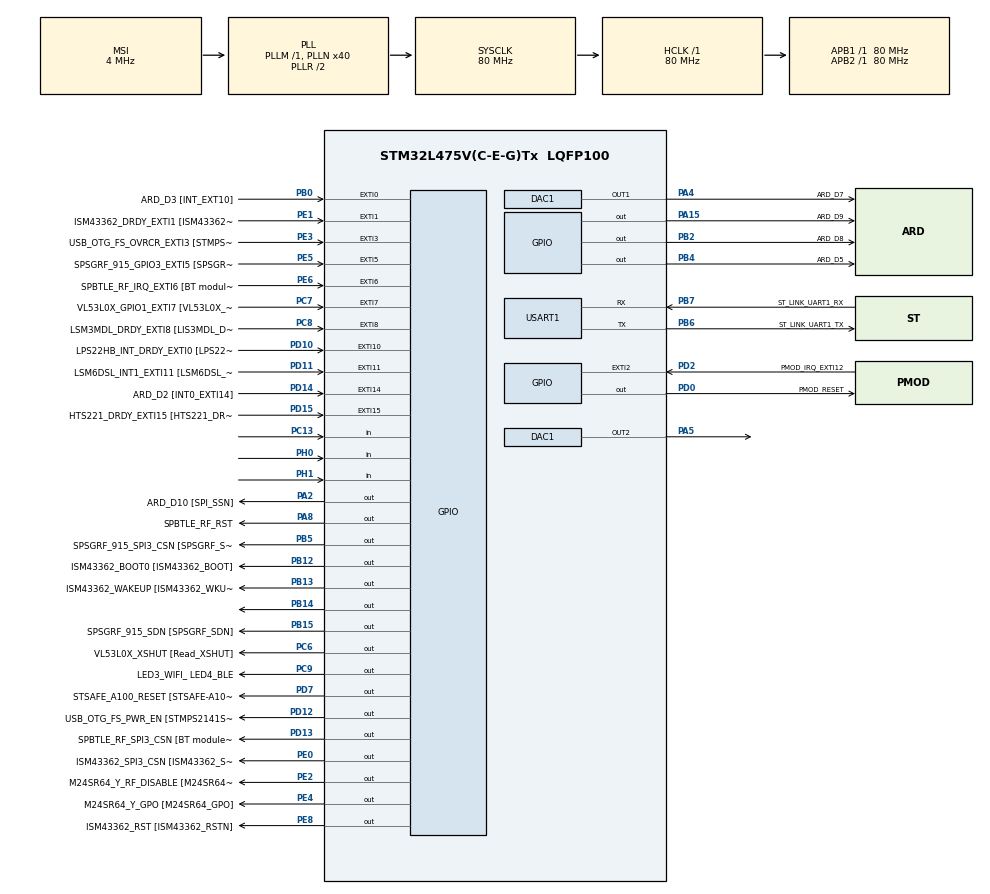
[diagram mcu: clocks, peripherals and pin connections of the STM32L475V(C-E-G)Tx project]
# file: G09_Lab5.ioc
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DAC1.DAC_Channel-DAC_OUT2=DAC_CHANNEL_2
Mcu.Family=STM32L4
Mcu.Name=STM32L475V(C-E-G)Tx
Mcu.Package=LQFP100
NVIC.EXTI15_10_IRQn=true\:0\:0\:false\:false\:true\:true
NVIC.EXTI9_5_IRQn=true\:0\:0\:false\:false\:true\:true
NVIC.PriorityGroup=NVIC_PRIORITYGROUP_4
NVIC.TIM1_TRG_COM_TIM17_IRQn=true\:0\:0\:false\:false\:true\:true
NVIC.TIM1_UP_TIM16_IRQn=true\:0\:0\:false\:false\:true\:true
NVIC.USART1_IRQn=true\:0\:0\:false\:false\:true\:true
PA0.GPIO_Label=ARD_D1 [UART4_TX]
PA0.Signal=UART4_TX
PA1.GPIO_Label=ARD_D0 [UART4_RX]
PA1.Signal=UART4_RX
PA10.GPIO_Label=USB_OTG_FS_ID
PA10.Signal=USB_OTG_FS_ID
PA11.GPIO_Label=USB_OTG_FS_DM
PA11.Signal=USB_OTG_FS_DM
PA12.GPIO_Label=USB_OTG_FS_DP
PA12.Signal=USB_OTG_FS_DP
PA13\ (JTMS-SWDIO).GPIO_Label=SYS_JTMS_SWDIO
PA13\ (JTMS-SWDIO).Signal=SYS_JTMS-SWDIO
PA14\ (JTCK-SWCLK).GPIO_Label=SYS_JTCK_SWCLK
PA14\ (JTCK-SWCLK).Signal=SYS_JTCK-SWCLK
PA15\ (JTDI).GPIO_Label=ARD_D9
PA15\ (JTDI).Signal=GPIO_Output
PA2.GPIO_Label=ARD_D10 [SPI_SSN]
PA2.Signal=GPIO_Output
PA3.GPIO_Label=ARD_D4
PA3.Signal=S_TIM2_CH4
PA4.GPIO_Label=ARD_D7
PA4.Signal=COMP_DAC11_group
PA5.Signal=COMP_DAC12_group
PA6.GPIO_Label=ARD_D12 [SPI1_MISO]
PA6.Signal=SPI1_MISO
PA7.GPIO_Label=ARD_D11 [SPI1_MOSI]
PA7.Signal=SPI1_MOSI
PA8.GPIO_Label=SPBTLE_RF_RST
PA8.Signal=GPIO_Output
PA9.GPIO_Label=USB_OTG_FS_VBUS [STMPS2141STR_OUT]
PA9.Signal=USB_OTG_FS_VBUS
PB0.GPIO_Label=ARD_D3 [INT_EXT10]
PB0.Signal=GPXTI0
PB1.GPIO_Label=ARD_D6 [ADC1_IN6]
PB1.Signal=ADCx_IN16
PB10.GPIO_Label=INTERNAL_I2C2_SCL [VL53L0X_SCL]
PB10.Signal=I2C2_SCL
PB11.GPIO_Label=INTERNAL_I2C2_SDA [VL53L0X_SDA]
PB11.Signal=I2C2_SDA
PB12.GPIO_Label=ISM43362_BOOT0 [ISM43362_BOOT]
PB12.Signal=GPIO_Output
PB13.GPIO_Label=ISM43362_WAKEUP [ISM43362_WKUP]
PB13.Signal=GPIO_Output
PB14.Signal=GPIO_Output
PB15.GPIO_Label=SPSGRF_915_SDN [SPSGRF_SDN]
PB15.Signal=GPIO_Output
PB2.GPIO_Label=ARD_D8
PB2.Signal=GPIO_Output
PB3\ (JTDO-TRACESWO).GPIO_Label=SYS_JTD0_SWO
PB3\ (JTDO-TRACESWO).Signal=SYS_JTDO-SWO
PB4\ (NJTRST).GPIO_Label=ARD_D5
PB4\ (NJTRST).Signal=GPIO_Output
PB5.GPIO_Label=SPSGRF_915_SPI3_CSN [SPSGRF_SPI_CS]
PB5.Signal=GPIO_Output
PB6.GPIO_Label=ST_LINK_UART1_TX
PB6.Mode=Asynchronous
PB6.Signal=USART1_TX
PB7.GPIO_Label=ST_LINK_UART1_RX
PB7.Mode=Asynchronous
PB7.Signal=USART1_RX
PB8.GPIO_Label=ARD_D15 [I2C1_SCL]
PB8.Signal=I2C1_SCL
PB9.GPIO_Label=ARD_D14 [I2C1_SDA]
PB9.Signal=I2C1_SDA
PC0.GPIO_Label=ARD_A5 [ADC]
PC0.Signal=ADCx_IN1
PC1.GPIO_Label=ARD_A4 [ADC]
PC1.Signal=ADCx_IN2
PC10.GPIO_Label=INTERNAL_SPI3_SCK [BT module_SPI_SCLK]
PC10.Signal=SPI3_SCK
PC11.GPIO_Label=INTERNAL_SPI3_MISO [BT module_SPI_MISO]
PC11.Signal=SPI3_MISO
PC12.GPIO_Label=INTERNAL_SPI3_MOSI [BT module_SPI_MOSI]
PC12.Signal=SPI3_MOSI
PC13.Signal=GPIO_Input
PC14-OSC32_IN\ (PC14).Signal=RCC_OSC32_IN
PC15-OSC32_OUT\ (PC15).Signal=RCC_OSC32_OUT
PC2.GPIO_Label=ARD_A3 [ADC]
PC2.Signal=ADCx_IN3
PC3.GPIO_Label=ARD_A2 [ADC]
PC3.Signal=ADCx_IN4
PC4.GPIO_Label=ARD_A1 [ADC]
PC4.Signal=ADCx_IN13
PC5.GPIO_Label=ARD_A0 [ADC]
PC5.Signal=ADCx_IN14
PC6.GPIO_Label=VL53L0X_XSHUT [Read_XSHUT]
PC6.Signal=GPIO_Output
PC7.GPIO_Label=VL53L0X_GPIO1_EXTI7 [VL53L0X_GPIO1]
PC7.Signal=GPXTI7
PC8.GPIO_Label=LSM3MDL_DRDY_EXTI8 [LIS3MDL_DRDY]
PC8.Signal=GPXTI8
PC9.GPIO_Label=LED3_WIFI_ LED4_BLE
PC9.Signal=GPIO_Output
PD0.GPIO_Label=PMOD_RESET
PD0.Signal=GPIO_Output
PD1.GPIO_Label=PMOD_SPI2_SCK
PD1.Signal=SPI2_SCK
PD10.GPIO_Label=LPS22HB_INT_DRDY_EXTI0 [LPS22HB_INT_DRDY] 
PD10.Signal=GPXTI10
PD11.GPIO_Label=LSM6DSL_INT1_EXTI11 [LSM6DSL_INT1]
PD11.Signal=GPXTI11
PD12.GPIO_Label=USB_OTG_FS_PWR_EN [STMPS2141STR_EN]
PD12.Signal=GPIO_Output
PD13.GPIO_Label=SPBTLE_RF_SPI3_CSN [BT module_SPI_CS]
PD13.Signal=GPIO_Output
PD14.GPIO_Label=ARD_D2 [INT0_EXTI14]
PD14.Signal=GPXTI14
PD15.GPIO_Label=HTS221_DRDY_EXTI15 [HTS221_DRDY]
PD15.Signal=GPXTI15
PD2.GPIO_Label=PMOD_IRQ_EXTI12
PD2.Signal=GPXTI2
PD3.GPIO_Label=PMOD_UART2_CTS
PD3.Signal=USART2_CTS
PD4.GPIO_Label=PMOD_UART2_RTS
PD4.Signal=USART2_RTS
PD5.GPIO_Label=PMOD_UART2_TX
PD5.Signal=USART2_TX
PD6.GPIO_Label=PMOD_UART2_RX
PD6.Signal=USART2_RX
PD7.GPIO_Label=STSAFE_A100_RESET [STSAFE-A100_RESET]
PD7.Signal=GPIO_Output
PD8.GPIO_Label=INTERNAL_UART3_TX [ISM43362_RX]
PD8.Signal=USART3_TX
PD9.GPIO_Label=INTERNAL_UART3_RX [ISM43362_TX]
PD9.Signal=USART3_RX
PE0.GPIO_Label=ISM43362_SPI3_CSN [ISM43362_SSN]
PE0.Signal=GPIO_Output
PE1.GPIO_Label=ISM43362_DRDY_EXTI1 [ISM43362_DATARDY]
PE1.Signal=GPXTI1
PE10.GPIO_Label=QUADSPI_CLK [MX25R6435F_SCLK]
PE10.Signal=QUADSPI_CLK
PE11.GPIO_Label=QUADSPI_NCS [MX25R6435F_SCLK]
PE11.Signal=QUADSPI_NCS
PE12.GPIO_Label=OQUADSPI_BK1_IO0 [MX25R6435F_IO0]
PE12.Signal=QUADSPI_BK1_IO0
PE13.GPIO_Label=QUADSPI_BK1_IO1 [MX25R6435F_IO1]
PE13.Signal=QUADSPI_BK1_IO1
PE14.GPIO_Label=QUAD_SPI_BK1_IO2 [MX25R6435F_IO2]
PE14.Signal=QUADSPI_BK1_IO2
PE15.GPIO_Label=QUAD_SPI_BK1_IO3 [MX25R6435F_IO3]
PE15.Signal=QUADSPI_BK1_IO3
PE2.GPIO_Label=M24SR64_Y_RF_DISABLE [M24SR64_RFDIS]
PE2.Signal=GPIO_Output
PE3.GPIO_Label=USB_OTG_FS_OVRCR_EXTI3 [STMPS2141STR_FAULT]
PE3.Signal=GPXTI3
PE4.GPIO_Label=M24SR64_Y_GPO [M24SR64_GPO]
PE4.Signal=GPIO_Output
PE5.GPIO_Label=SPSGRF_915_GPIO3_EXTI5 [SPSGRF_GPIO_3]
PE5.Signal=GPXTI5
PE6.GPIO_Label=SPBTLE_RF_IRQ_EXTI6 [BT module_SPI_IRQ]
PE6.Signal=GPXTI6
PE7.GPIO_Label=DFSDM1_DATIN2 [MP34DT01_DOUT]
PE7.Signal=S_DATAIN2DFSDM1
PE8.GPIO_Label=ISM43362_RST [ISM43362_RSTN]
PE8.Signal=GPIO_Output
PE9.GPIO_Label=DFSDM1_CKOUT [MP34DT01_CLK]
PE9.Signal=S_CKOUTDFSDM1
PH0-OSC_IN\ (PH0).Signal=GPIO_Input
PH1-OSC_OUT\ (PH1).Signal=GPIO_Input
ProjectManager.HeapSize=0x200
ProjectManager.StackSize=0x400
ProjectManager.TargetToolchain=MDK-ARM V5
RCC.ADCFreq_Value=48000000
RCC.AHBFreq_Value=80000000
RCC.APB1Freq_Value=80000000
RCC.APB1TimFreq_Value=80000000
RCC.APB2Freq_Value=80000000
RCC.APB2TimFreq_Value=80000000
RCC.CortexFreq_Value=80000000
RCC.HCLKFreq_Value=80000000
RCC.HSE_VALUE=8000000
RCC.HSI_VALUE=16000000
RCC.LSE_VALUE=32768
RCC.MSI_VALUE=4000000
RCC.PLLN=40
RCC.PLLSAI1N=24
RCC.SYSCLKFreq_VALUE=80000000
RCC.SYSCLKSource=RCC_SYSCLKSOURCE_PLLCLK
RCC.USBFreq_Value=48000000
RCC.VCOOutputFreq_Value=160000000
SH.ADCx_IN1.0=ADC1_IN1
SH.ADCx_IN13.0=ADC1_IN13
SH.ADCx_IN14.0=ADC1_IN14
SH.ADCx_IN16.0=ADC1_IN16
SH.ADCx_IN2.0=ADC1_IN2
SH.ADCx_IN3.0=ADC1_IN3
SH.ADCx_IN4.0=ADC1_IN4
SH.COMP_DAC11_group.0=DAC1_OUT1,DAC_OUT1
SH.COMP_DAC12_group.0=DAC1_OUT2,DAC_OUT2
SH.S_CKOUTDFSDM1.0=DFSDM1_CKOUT
SH.S_DATAIN2DFSDM1.0=DFSDM1_DATIN2
SH.S_TIM2_CH4.0=TIM2_CH4
USART1.VirtualMode-Asynchronous=VM_ASYNC
VP_TIM1_VS_ClockSourceINT.Mode=Internal
board=B-L475E-IOT01A

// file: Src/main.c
/**
  ******************************************************************************
  * @file           : main.c
  * @brief          : Main program body
  ******************************************************************************
  ** This notice applies to any and all portions of this file
  * that are not between comment pairs USER CODE BEGIN and
  * USER CODE END. Other portions of this file, whether
  * inserted by the user or by software development tools
  * are owned by their respective copyright owners.
  *
  * COPYRIGHT(c) 2018 STMicroelectronics
  *
  * Redistribution and use in source and binary forms, with or without modification,
  * are permitted provided that the following conditions are met:
  *   1. Redistributions of source code must retain the above copyright notice,
  *      this list of conditions and the following disclaimer.
  *   2. Redistributions in binary form must reproduce the above copyright notice,
  *      this list of conditions and the following disclaimer in the documentation
  *      and/or other materials provided with the distribution.
  *   3. Neither the name of STMicroelectronics nor the names of its contributors
  *      may be used to endorse or promote products derived from this software
  *      without specific prior written permission.
  *
  * THIS SOFTWARE IS PROVIDED BY THE COPYRIGHT HOLDERS AND CONTRIBUTORS "AS IS"
  * AND ANY EXPRESS OR IMPLIED WARRANTIES, INCLUDING, BUT NOT LIMITED TO, THE
  * IMPLIED WARRANTIES OF MERCHANTABILITY AND FITNESS FOR A PARTICULAR PURPOSE ARE
  * DISCLAIMED. IN NO EVENT SHALL THE COPYRIGHT HOLDER OR CONTRIBUTORS BE LIABLE
  * FOR ANY DIRECT, INDIRECT, INCIDENTAL, SPECIAL, EXEMPLARY, OR CONSEQUENTIAL
  * DAMAGES (INCLUDING, BUT NOT LIMITED TO, PROCUREMENT OF SUBSTITUTE GOODS OR
  * SERVICES; LOSS OF USE, DATA, OR PROFITS; OR BUSINESS INTERRUPTION) HOWEVER
  * CAUSED AND ON ANY THEORY OF LIABILITY, WHETHER IN CONTRACT, STRICT LIABILITY,
  * OR TORT (INCLUDING NEGLIGENCE OR OTHERWISE) ARISING IN ANY WAY OUT OF THE USE
  * OF THIS SOFTWARE, EVEN IF ADVISED OF THE POSSIBILITY OF SUCH DAMAGE.
  *
  ******************************************************************************
  */
#include "main.h"
#include "stm32l4xx_hal.h"

DAC_HandleTypeDef hdac1;

TIM_HandleTypeDef htim1;

UART_HandleTypeDef huart1;

/* USER CODE BEGIN PV */
/* Private variables ---------------------------------------------------------*/
volatile int flag = 0;
int transmitting = 0;
// stored at 0x200000DC (SRAM)
char data[14000];
int i = 0;
/* USER CODE END PV */

void SystemClock_Config(void);
static void MX_GPIO_Init(void);
static void MX_USART1_UART_Init(void);
static void MX_DAC1_Init(void);
static void MX_TIM1_Init(void);

/* USER CODE BEGIN PFP */
/* Private function prototypes -----------------------------------------------*/

/* USER CODE END PFP */

/* USER CODE BEGIN 0 */
/**
  * @brief writes audio (data buffer in SRAM) to the DAC
  */
void transmitAudio() {
	// start DACs
	HAL_DAC_Start(&hdac1, DAC_CHANNEL_1);
	HAL_DAC_Start(&hdac1, DAC_CHANNEL_2);
	i = 0;
	while(i < 14000) {
		if(flag) {
			// reset flag
			flag = 0;
			// write data from csv file into DAC
			// have to shift second half of data since it is the 8 MSBs
			HAL_DAC_SetValue(&hdac1, DAC_CHANNEL_1, DAC_ALIGN_12B_R, (data[i + 1] << 8) + data[i]);
			HAL_DAC_SetValue(&hdac1, DAC_CHANNEL_2, DAC_ALIGN_12B_R, (data[i + 1] << 8) + data[i]);
			i += 2;
		}
	}

	HAL_DAC_SetValue(&hdac1, DAC_CHANNEL_1, DAC_ALIGN_12B_R, 0);
	HAL_DAC_SetValue(&hdac1, DAC_CHANNEL_2, DAC_ALIGN_12B_R, 0);
	// stop DACs
	HAL_DAC_Stop(&hdac1, DAC_CHANNEL_1);
	HAL_DAC_Stop(&hdac1, DAC_CHANNEL_2);
}

/**
  * @brief checks if the blue button the board has been pressed, if pressed start transmission
  */
void checkPress() {
	// checks if blue button was pressed
	if(HAL_GPIO_ReadPin(GPIOC, GPIO_PIN_13) == GPIO_PIN_RESET) {
		// turn on led to signal transmission
		HAL_GPIO_WritePin(GPIOB, GPIO_PIN_14, GPIO_PIN_SET);
		// receive information from UART
		while(HAL_UART_Receive(&huart1, (uint8_t *)data, 14000, 5000) != HAL_OK) {}
		transmitAudio();
		HAL_GPIO_WritePin(GPIOB, GPIO_PIN_14, GPIO_PIN_RESET);
	}
}
/* USER CODE END 0 */

int main(void)
{

  /* MCU Configuration----------------------------------------------------------*/

  /* Reset of all peripherals, Initializes the Flash interface and the Systick. */
  HAL_Init();

  /* Configure the system clock */
  SystemClock_Config();

  /* Initialize all configured peripherals */
  MX_GPIO_Init();
  MX_USART1_UART_Init();
  MX_DAC1_Init();
  MX_TIM1_Init();
  /* USER CODE BEGIN 2 */
	HAL_GPIO_WritePin(GPIOB, GPIO_PIN_14, GPIO_PIN_RESET);
	HAL_TIM_Base_Start_IT(&htim1);
  /* USER CODE END 2 */

  /* Infinite loop */
  /* USER CODE BEGIN WHILE */
  while (1)
  {
		checkPress();
  /* USER CODE END WHILE */

  }

}

void SystemClock_Config(void)
{

  RCC_OscInitTypeDef RCC_OscInitStruct;
  RCC_ClkInitTypeDef RCC_ClkInitStruct;
  RCC_PeriphCLKInitTypeDef PeriphClkInit;

    /**Initializes the CPU, AHB and APB busses clocks
    */
  RCC_OscInitStruct.OscillatorType = RCC_OSCILLATORTYPE_MSI;
  RCC_OscInitStruct.MSIState = RCC_MSI_ON;
  RCC_OscInitStruct.MSICalibrationValue = 0;
  RCC_OscInitStruct.MSIClockRange = RCC_MSIRANGE_6;
  RCC_OscInitStruct.PLL.PLLState = RCC_PLL_ON;
  RCC_OscInitStruct.PLL.PLLSource = RCC_PLLSOURCE_MSI;
  RCC_OscInitStruct.PLL.PLLM = 1;
  RCC_OscInitStruct.PLL.PLLN = 40;
  RCC_OscInitStruct.PLL.PLLP = RCC_PLLP_DIV7;
  RCC_OscInitStruct.PLL.PLLQ = RCC_PLLQ_DIV2;
  RCC_OscInitStruct.PLL.PLLR = RCC_PLLR_DIV2;
  if (HAL_RCC_OscConfig(&RCC_OscInitStruct) != HAL_OK)
  {
    _Error_Handler(__FILE__, __LINE__);
  }

    /**Initializes the CPU, AHB and APB busses clocks
    */
  RCC_ClkInitStruct.ClockType = RCC_CLOCKTYPE_HCLK|RCC_CLOCKTYPE_SYSCLK
                              |RCC_CLOCKTYPE_PCLK1|RCC_CLOCKTYPE_PCLK2;
  RCC_ClkInitStruct.SYSCLKSource = RCC_SYSCLKSOURCE_PLLCLK;
  RCC_ClkInitStruct.AHBCLKDivider = RCC_SYSCLK_DIV1;
  RCC_ClkInitStruct.APB1CLKDivider = RCC_HCLK_DIV1;
  RCC_ClkInitStruct.APB2CLKDivider = RCC_HCLK_DIV1;

  if (HAL_RCC_ClockConfig(&RCC_ClkInitStruct, FLASH_LATENCY_4) != HAL_OK)
  {
    _Error_Handler(__FILE__, __LINE__);
  }

  PeriphClkInit.PeriphClockSelection = RCC_PERIPHCLK_USART1;
  PeriphClkInit.Usart1ClockSelection = RCC_USART1CLKSOURCE_PCLK2;
  if (HAL_RCCEx_PeriphCLKConfig(&PeriphClkInit) != HAL_OK)
  {
    _Error_Handler(__FILE__, __LINE__);
  }

    /**Configure the main internal regulator output voltage
    */
  if (HAL_PWREx_ControlVoltageScaling(PWR_REGULATOR_VOLTAGE_SCALE1) != HAL_OK)
  {
    _Error_Handler(__FILE__, __LINE__);
  }

    /**Configure the Systick interrupt time
    */
  HAL_SYSTICK_Config(HAL_RCC_GetHCLKFreq()/1000);

    /**Configure the Systick
    */
  HAL_SYSTICK_CLKSourceConfig(SYSTICK_CLKSOURCE_HCLK);

  /* SysTick_IRQn interrupt configuration */
  HAL_NVIC_SetPriority(SysTick_IRQn, 0, 0);
}

/* DAC1 init function */
static void MX_DAC1_Init(void)
{

  DAC_ChannelConfTypeDef sConfig;

    /**DAC Initialization
    */
  hdac1.Instance = DAC1;
  if (HAL_DAC_Init(&hdac1) != HAL_OK)
  {
    _Error_Handler(__FILE__, __LINE__);
  }

    /**DAC channel OUT1 config
    */
  sConfig.DAC_SampleAndHold = DAC_SAMPLEANDHOLD_DISABLE;
  sConfig.DAC_Trigger = DAC_TRIGGER_NONE;
  sConfig.DAC_OutputBuffer = DAC_OUTPUTBUFFER_ENABLE;
  sConfig.DAC_ConnectOnChipPeripheral = DAC_CHIPCONNECT_DISABLE;
  sConfig.DAC_UserTrimming = DAC_TRIMMING_FACTORY;
  if (HAL_DAC_ConfigChannel(&hdac1, &sConfig, DAC_CHANNEL_1) != HAL_OK)
  {
    _Error_Handler(__FILE__, __LINE__);
  }

    /**DAC channel OUT2 config
    */
  sConfig.DAC_ConnectOnChipPeripheral = DAC_CHIPCONNECT_DISABLE;
  if (HAL_DAC_ConfigChannel(&hdac1, &sConfig, DAC_CHANNEL_2) != HAL_OK)
  {
    _Error_Handler(__FILE__, __LINE__);
  }

}

/* TIM1 init function */
static void MX_TIM1_Init(void)
{

  TIM_ClockConfigTypeDef sClockSourceConfig;
  TIM_MasterConfigTypeDef sMasterConfig;

  htim1.Instance = TIM1;
  htim1.Init.Prescaler = 20;
  htim1.Init.CounterMode = TIM_COUNTERMODE_UP;
  htim1.Init.Period = 500; // ? 80Mhz/(period+1) = 8k
  htim1.Init.ClockDivision = TIM_CLOCKDIVISION_DIV1;
  htim1.Init.RepetitionCounter = 0;
  htim1.Init.AutoReloadPreload = TIM_AUTORELOAD_PRELOAD_DISABLE;
  if (HAL_TIM_Base_Init(&htim1) != HAL_OK)
  {
    _Error_Handler(__FILE__, __LINE__);
  }

  sClockSourceConfig.ClockSource = TIM_CLOCKSOURCE_INTERNAL;
  if (HAL_TIM_ConfigClockSource(&htim1, &sClockSourceConfig) != HAL_OK)
  {
    _Error_Handler(__FILE__, __LINE__);
  }

  sMasterConfig.MasterOutputTrigger = TIM_TRGO_RESET;
  sMasterConfig.MasterOutputTrigger2 = TIM_TRGO2_RESET;
  sMasterConfig.MasterSlaveMode = TIM_MASTERSLAVEMODE_DISABLE;
  if (HAL_TIMEx_MasterConfigSynchronization(&htim1, &sMasterConfig) != HAL_OK)
  {
    _Error_Handler(__FILE__, __LINE__);
  }

}

/* USART1 init function */
static void MX_USART1_UART_Init(void)
{

  huart1.Instance = USART1;
  huart1.Init.BaudRate = 115200;
  huart1.Init.WordLength = UART_WORDLENGTH_8B;
  huart1.Init.StopBits = UART_STOPBITS_1;
  huart1.Init.Parity = UART_PARITY_NONE;
  huart1.Init.Mode = UART_MODE_TX_RX;
  huart1.Init.HwFlowCtl = UART_HWCONTROL_NONE;
  huart1.Init.OverSampling = UART_OVERSAMPLING_16;
  huart1.Init.OneBitSampling = UART_ONE_BIT_SAMPLE_DISABLE;
  huart1.AdvancedInit.AdvFeatureInit = UART_ADVFEATURE_NO_INIT;
  if (HAL_UART_Init(&huart1) != HAL_OK)
  {
    _Error_Handler(__FILE__, __LINE__);
  }

}

/** Configure pins as
        * Analog
        * Input
        * Output
        * EVENT_OUT
        * EXTI
     PC0   ------> ADCx_IN1
     PC1   ------> ADCx_IN2
     PC2   ------> ADCx_IN3
     PC3   ------> ADCx_IN4
     PA0   ------> UART4_TX
     PA1   ------> UART4_RX
     PA3   ------> S_TIM2_CH4
     PA6   ------> SPI1_MISO
     PA7   ------> SPI1_MOSI
     PC4   ------> ADCx_IN13
     PC5   ------> ADCx_IN14
     PB1   ------> ADCx_IN16
     PE7   ------> S_DATAIN2DFSDM1
     PE9   ------> S_CKOUTDFSDM1
     PE10   ------> QUADSPI_CLK
     PE11   ------> QUADSPI_NCS
     PE12   ------> QUADSPI_BK1_IO0
     PE13   ------> QUADSPI_BK1_IO1
     PE14   ------> QUADSPI_BK1_IO2
     PE15   ------> QUADSPI_BK1_IO3
     PB10   ------> I2C2_SCL
     PB11   ------> I2C2_SDA
     PD8   ------> USART3_TX
     PD9   ------> USART3_RX
     PA9   ------> USB_OTG_FS_VBUS
     PA10   ------> USB_OTG_FS_ID
     PA11   ------> USB_OTG_FS_DM
     PA12   ------> USB_OTG_FS_DP
     PC10   ------> SPI3_SCK
     PC11   ------> SPI3_MISO
     PC12   ------> SPI3_MOSI
     PD1   ------> SPI2_SCK
     PD3   ------> USART2_CTS
     PD4   ------> USART2_RTS
     PD5   ------> USART2_TX
     PD6   ------> USART2_RX
     PB8   ------> I2C1_SCL
     PB9   ------> I2C1_SDA
*/
static void MX_GPIO_Init(void)
{

  GPIO_InitTypeDef GPIO_InitStruct;

  /* GPIO Ports Clock Enable */
  __HAL_RCC_GPIOE_CLK_ENABLE();
  __HAL_RCC_GPIOC_CLK_ENABLE();
  __HAL_RCC_GPIOH_CLK_ENABLE();
  __HAL_RCC_GPIOA_CLK_ENABLE();
  __HAL_RCC_GPIOB_CLK_ENABLE();
  __HAL_RCC_GPIOD_CLK_ENABLE();

  /*Configure GPIO pin Output Level */
  HAL_GPIO_WritePin(GPIOE, M24SR64_Y_RF_DISABLE_Pin|M24SR64_Y_GPO_Pin|ISM43362_RST_Pin|ISM43362_SPI3_CSN_Pin, GPIO_PIN_RESET);

  /*Configure GPIO pin Output Level */
  HAL_GPIO_WritePin(GPIOA, ARD_D10_Pin|SPBTLE_RF_RST_Pin|ARD_D9_Pin, GPIO_PIN_RESET);

  /*Configure GPIO pin Output Level */
  HAL_GPIO_WritePin(GPIOB, ARD_D8_Pin|ISM43362_BOOT0_Pin|ISM43362_WAKEUP_Pin|GPIO_PIN_14
                          |SPSGRF_915_SDN_Pin|ARD_D5_Pin|SPSGRF_915_SPI3_CSN_Pin, GPIO_PIN_RESET);

  /*Configure GPIO pin Output Level */
  HAL_GPIO_WritePin(GPIOD, USB_OTG_FS_PWR_EN_Pin|SPBTLE_RF_SPI3_CSN_Pin|PMOD_RESET_Pin|STSAFE_A100_RESET_Pin, GPIO_PIN_RESET);

  /*Configure GPIO pin Output Level */
  HAL_GPIO_WritePin(GPIOC, VL53L0X_XSHUT_Pin|LED3_WIFI__LED4_BLE_Pin, GPIO_PIN_RESET);

  /*Configure GPIO pins : M24SR64_Y_RF_DISABLE_Pin M24SR64_Y_GPO_Pin ISM43362_RST_Pin ISM43362_SPI3_CSN_Pin */
  GPIO_InitStruct.Pin = M24SR64_Y_RF_DISABLE_Pin|M24SR64_Y_GPO_Pin|ISM43362_RST_Pin|ISM43362_SPI3_CSN_Pin;
  GPIO_InitStruct.Mode = GPIO_MODE_OUTPUT_PP;
  GPIO_InitStruct.Pull = GPIO_NOPULL;
  GPIO_InitStruct.Speed = GPIO_SPEED_FREQ_LOW;
  HAL_GPIO_Init(GPIOE, &GPIO_InitStruct);

  /*Configure GPIO pins : USB_OTG_FS_OVRCR_EXTI3_Pin SPSGRF_915_GPIO3_EXTI5_Pin SPBTLE_RF_IRQ_EXTI6_Pin ISM43362_DRDY_EXTI1_Pin */
  GPIO_InitStruct.Pin = USB_OTG_FS_OVRCR_EXTI3_Pin|SPSGRF_915_GPIO3_EXTI5_Pin|SPBTLE_RF_IRQ_EXTI6_Pin|ISM43362_DRDY_EXTI1_Pin;
  GPIO_InitStruct.Mode = GPIO_MODE_IT_RISING;
  GPIO_InitStruct.Pull = GPIO_NOPULL;
  HAL_GPIO_Init(GPIOE, &GPIO_InitStruct);

  /*Configure GPIO pin : PC13 */
  GPIO_InitStruct.Pin = GPIO_PIN_13;
  GPIO_InitStruct.Mode = GPIO_MODE_INPUT;
  GPIO_InitStruct.Pull = GPIO_NOPULL;
  HAL_GPIO_Init(GPIOC, &GPIO_InitStruct);

  /*Configure GPIO pins : PH0 PH1 */
  GPIO_InitStruct.Pin = GPIO_PIN_0|GPIO_PIN_1;
  GPIO_InitStruct.Mode = GPIO_MODE_INPUT;
  GPIO_InitStruct.Pull = GPIO_NOPULL;
  HAL_GPIO_Init(GPIOH, &GPIO_InitStruct);

  /*Configure GPIO pins : ARD_A5_Pin ARD_A4_Pin ARD_A3_Pin ARD_A2_Pin
                           ARD_A1_Pin ARD_A0_Pin */
  GPIO_InitStruct.Pin = ARD_A5_Pin|ARD_A4_Pin|ARD_A3_Pin|ARD_A2_Pin
                          |ARD_A1_Pin|ARD_A0_Pin;
  GPIO_InitStruct.Mode = GPIO_MODE_ANALOG_ADC_CONTROL;
  GPIO_InitStruct.Pull = GPIO_NOPULL;
  HAL_GPIO_Init(GPIOC, &GPIO_InitStruct);

  /*Configure GPIO pins : ARD_D1_Pin ARD_D0_Pin */
  GPIO_InitStruct.Pin = ARD_D1_Pin|ARD_D0_Pin;
  GPIO_InitStruct.Mode = GPIO_MODE_AF_PP;
  GPIO_InitStruct.Pull = GPIO_NOPULL;
  GPIO_InitStruct.Speed = GPIO_SPEED_FREQ_VERY_HIGH;
  GPIO_InitStruct.Alternate = GPIO_AF8_UART4;
  HAL_GPIO_Init(GPIOA, &GPIO_InitStruct);

  /*Configure GPIO pins : ARD_D10_Pin SPBTLE_RF_RST_Pin ARD_D9_Pin */
  GPIO_InitStruct.Pin = ARD_D10_Pin|SPBTLE_RF_RST_Pin|ARD_D9_Pin;
  GPIO_InitStruct.Mode = GPIO_MODE_OUTPUT_PP;
  GPIO_InitStruct.Pull = GPIO_NOPULL;
  GPIO_InitStruct.Speed = GPIO_SPEED_FREQ_LOW;
  HAL_GPIO_Init(GPIOA, &GPIO_InitStruct);

  /*Configure GPIO pin : ARD_D4_Pin */
  GPIO_InitStruct.Pin = ARD_D4_Pin;
  GPIO_InitStruct.Mode = GPIO_MODE_AF_PP;
  GPIO_InitStruct.Pull = GPIO_NOPULL;
  GPIO_InitStruct.Speed = GPIO_SPEED_FREQ_LOW;
  GPIO_InitStruct.Alternate = GPIO_AF1_TIM2;
  HAL_GPIO_Init(ARD_D4_GPIO_Port, &GPIO_InitStruct);

  /*Configure GPIO pins : ARD_D12_Pin ARD_D11_Pin */
  GPIO_InitStruct.Pin = ARD_D12_Pin|ARD_D11_Pin;
  GPIO_InitStruct.Mode = GPIO_MODE_AF_PP;
  GPIO_InitStruct.Pull = GPIO_NOPULL;
  GPIO_InitStruct.Speed = GPIO_SPEED_FREQ_VERY_HIGH;
  GPIO_InitStruct.Alternate = GPIO_AF5_SPI1;
  HAL_GPIO_Init(GPIOA, &GPIO_InitStruct);

  /*Configure GPIO pin : ARD_D3_Pin */
  GPIO_InitStruct.Pin = ARD_D3_Pin;
  GPIO_InitStruct.Mode = GPIO_MODE_IT_RISING;
  GPIO_InitStruct.Pull = GPIO_NOPULL;
  HAL_GPIO_Init(ARD_D3_GPIO_Port, &GPIO_InitStruct);

  /*Configure GPIO pin : ARD_D6_Pin */
  GPIO_InitStruct.Pin = ARD_D6_Pin;
  GPIO_InitStruct.Mode = GPIO_MODE_ANALOG_ADC_CONTROL;
  GPIO_InitStruct.Pull = GPIO_NOPULL;
  HAL_GPIO_Init(ARD_D6_GPIO_Port, &GPIO_InitStruct);

  /*Configure GPIO pins : ARD_D8_Pin ISM43362_BOOT0_Pin ISM43362_WAKEUP_Pin PB14
                           SPSGRF_915_SDN_Pin ARD_D5_Pin SPSGRF_915_SPI3_CSN_Pin */
  GPIO_InitStruct.Pin = ARD_D8_Pin|ISM43362_BOOT0_Pin|ISM43362_WAKEUP_Pin|GPIO_PIN_14
                          |SPSGRF_915_SDN_Pin|ARD_D5_Pin|SPSGRF_915_SPI3_CSN_Pin;
  GPIO_InitStruct.Mode = GPIO_MODE_OUTPUT_PP;
  GPIO_InitStruct.Pull = GPIO_NOPULL;
  GPIO_InitStruct.Speed = GPIO_SPEED_FREQ_LOW;
  HAL_GPIO_Init(GPIOB, &GPIO_InitStruct);

  /*Configure GPIO pins : DFSDM1_DATIN2_Pin DFSDM1_CKOUT_Pin */
  GPIO_InitStruct.Pin = DFSDM1_DATIN2_Pin|DFSDM1_CKOUT_Pin;
  GPIO_InitStruct.Mode = GPIO_MODE_AF_PP;
  GPIO_InitStruct.Pull = GPIO_NOPULL;
  GPIO_InitStruct.Speed = GPIO_SPEED_FREQ_LOW;
  GPIO_InitStruct.Alternate = GPIO_AF6_DFSDM1;
  HAL_GPIO_Init(GPIOE, &GPIO_InitStruct);

  /*Configure GPIO pins : QUADSPI_CLK_Pin QUADSPI_NCS_Pin OQUADSPI_BK1_IO0_Pin QUADSPI_BK1_IO1_Pin
                           QUAD_SPI_BK1_IO2_Pin QUAD_SPI_BK1_IO3_Pin */
  GPIO_InitStruct.Pin = QUADSPI_CLK_Pin|QUADSPI_NCS_Pin|OQUADSPI_BK1_IO0_Pin|QUADSPI_BK1_IO1_Pin
                          |QUAD_SPI_BK1_IO2_Pin|QUAD_SPI_BK1_IO3_Pin;
  GPIO_InitStruct.Mode = GPIO_MODE_AF_PP;
  GPIO_InitStruct.Pull = GPIO_NOPULL;
  GPIO_InitStruct.Speed = GPIO_SPEED_FREQ_VERY_HIGH;
  GPIO_InitStruct.Alternate = GPIO_AF10_QUADSPI;
  HAL_GPIO_Init(GPIOE, &GPIO_InitStruct);

  /*Configure GPIO pins : INTERNAL_I2C2_SCL_Pin INTERNAL_I2C2_SDA_Pin */
  GPIO_InitStruct.Pin = INTERNAL_I2C2_SCL_Pin|INTERNAL_I2C2_SDA_Pin;
  GPIO_InitStruct.Mode = GPIO_MODE_AF_OD;
  GPIO_InitStruct.Pull = GPIO_PULLUP;
  GPIO_InitStruct.Speed = GPIO_SPEED_FREQ_VERY_HIGH;
  GPIO_InitStruct.Alternate = GPIO_AF4_I2C2;
  HAL_GPIO_Init(GPIOB, &GPIO_InitStruct);

  /*Configure GPIO pins : INTERNAL_UART3_TX_Pin INTERNAL_UART3_RX_Pin */
  GPIO_InitStruct.Pin = INTERNAL_UART3_TX_Pin|INTERNAL_UART3_RX_Pin;
  GPIO_InitStruct.Mode = GPIO_MODE_AF_PP;
  GPIO_InitStruct.Pull = GPIO_NOPULL;
  GPIO_InitStruct.Speed = GPIO_SPEED_FREQ_VERY_HIGH;
  GPIO_InitStruct.Alternate = GPIO_AF7_USART3;
  HAL_GPIO_Init(GPIOD, &GPIO_InitStruct);

  /*Configure GPIO pins : LPS22HB_INT_DRDY_EXTI0_Pin LSM6DSL_INT1_EXTI11_Pin ARD_D2_Pin HTS221_DRDY_EXTI15_Pin
                           PMOD_IRQ_EXTI12_Pin */
  GPIO_InitStruct.Pin = LPS22HB_INT_DRDY_EXTI0_Pin|LSM6DSL_INT1_EXTI11_Pin|ARD_D2_Pin|HTS221_DRDY_EXTI15_Pin
                          |PMOD_IRQ_EXTI12_Pin;
  GPIO_InitStruct.Mode = GPIO_MODE_IT_RISING;
  GPIO_InitStruct.Pull = GPIO_NOPULL;
  HAL_GPIO_Init(GPIOD, &GPIO_InitStruct);

  /*Configure GPIO pins : USB_OTG_FS_PWR_EN_Pin SPBTLE_RF_SPI3_CSN_Pin PMOD_RESET_Pin STSAFE_A100_RESET_Pin */
  GPIO_InitStruct.Pin = USB_OTG_FS_PWR_EN_Pin|SPBTLE_RF_SPI3_CSN_Pin|PMOD_RESET_Pin|STSAFE_A100_RESET_Pin;
  GPIO_InitStruct.Mode = GPIO_MODE_OUTPUT_PP;
  GPIO_InitStruct.Pull = GPIO_NOPULL;
  GPIO_InitStruct.Speed = GPIO_SPEED_FREQ_LOW;
  HAL_GPIO_Init(GPIOD, &GPIO_InitStruct);

  /*Configure GPIO pins : VL53L0X_XSHUT_Pin LED3_WIFI__LED4_BLE_Pin */
  GPIO_InitStruct.Pin = VL53L0X_XSHUT_Pin|LED3_WIFI__LED4_BLE_Pin;
  GPIO_InitStruct.Mode = GPIO_MODE_OUTPUT_PP;
  GPIO_InitStruct.Pull = GPIO_NOPULL;
  GPIO_InitStruct.Speed = GPIO_SPEED_FREQ_LOW;
  HAL_GPIO_Init(GPIOC, &GPIO_InitStruct);

  /*Configure GPIO pins : VL53L0X_GPIO1_EXTI7_Pin LSM3MDL_DRDY_EXTI8_Pin */
  GPIO_InitStruct.Pin = VL53L0X_GPIO1_EXTI7_Pin|LSM3MDL_DRDY_EXTI8_Pin;
  GPIO_InitStruct.Mode = GPIO_MODE_IT_RISING;
  GPIO_InitStruct.Pull = GPIO_NOPULL;
  HAL_GPIO_Init(GPIOC, &GPIO_InitStruct);

  /*Configure GPIO pin : USB_OTG_FS_VBUS_Pin */
  GPIO_InitStruct.Pin = USB_OTG_FS_VBUS_Pin;
  GPIO_InitStruct.Mode = GPIO_MODE_INPUT;
  GPIO_InitStruct.Pull = GPIO_NOPULL;
  HAL_GPIO_Init(USB_OTG_FS_VBUS_GPIO_Port, &GPIO_InitStruct);

  /*Configure GPIO pins : USB_OTG_FS_ID_Pin USB_OTG_FS_DM_Pin USB_OTG_FS_DP_Pin */
  GPIO_InitStruct.Pin = USB_OTG_FS_ID_Pin|USB_OTG_FS_DM_Pin|USB_OTG_FS_DP_Pin;
  GPIO_InitStruct.Mode = GPIO_MODE_AF_PP;
  GPIO_InitStruct.Pull = GPIO_NOPULL;
  GPIO_InitStruct.Speed = GPIO_SPEED_FREQ_VERY_HIGH;
  GPIO_InitStruct.Alternate = GPIO_AF10_OTG_FS;
  HAL_GPIO_Init(GPIOA, &GPIO_InitStruct);

  /*Configure GPIO pins : INTERNAL_SPI3_SCK_Pin INTERNAL_SPI3_MISO_Pin INTERNAL_SPI3_MOSI_Pin */
  GPIO_InitStruct.Pin = INTERNAL_SPI3_SCK_Pin|INTERNAL_SPI3_MISO_Pin|INTERNAL_SPI3_MOSI_Pin;
  GPIO_InitStruct.Mode = GPIO_MODE_AF_PP;
  GPIO_InitStruct.Pull = GPIO_NOPULL;
  GPIO_InitStruct.Speed = GPIO_SPEED_FREQ_VERY_HIGH;
  GPIO_InitStruct.Alternate = GPIO_AF6_SPI3;
  HAL_GPIO_Init(GPIOC, &GPIO_InitStruct);

  /*Configure GPIO pin : PMOD_SPI2_SCK_Pin */
  GPIO_InitStruct.Pin = PMOD_SPI2_SCK_Pin;
  GPIO_InitStruct.Mode = GPIO_MODE_AF_PP;
  GPIO_InitStruct.Pull = GPIO_NOPULL;
  GPIO_InitStruct.Speed = GPIO_SPEED_FREQ_VERY_HIGH;
  GPIO_InitStruct.Alternate = GPIO_AF5_SPI2;
  HAL_GPIO_Init(PMOD_SPI2_SCK_GPIO_Port, &GPIO_InitStruct);

  /*Configure GPIO pins : PMOD_UART2_CTS_Pin PMOD_UART2_RTS_Pin PMOD_UART2_TX_Pin PMOD_UART2_RX_Pin */
  GPIO_InitStruct.Pin = PMOD_UART2_CTS_Pin|PMOD_UART2_RTS_Pin|PMOD_UART2_TX_Pin|PMOD_UART2_RX_Pin;
  GPIO_InitStruct.Mode = GPIO_MODE_AF_PP;
  GPIO_InitStruct.Pull = GPIO_NOPULL;
  GPIO_InitStruct.Speed = GPIO_SPEED_FREQ_VERY_HIGH;
  GPIO_InitStruct.Alternate = GPIO_AF7_USART2;
  HAL_GPIO_Init(GPIOD, &GPIO_InitStruct);

  /*Configure GPIO pins : ARD_D15_Pin ARD_D14_Pin */
  GPIO_InitStruct.Pin = ARD_D15_Pin|ARD_D14_Pin;
  GPIO_InitStruct.Mode = GPIO_MODE_AF_OD;
  GPIO_InitStruct.Pull = GPIO_PULLUP;
  GPIO_InitStruct.Speed = GPIO_SPEED_FREQ_VERY_HIGH;
  GPIO_InitStruct.Alternate = GPIO_AF4_I2C1;
  HAL_GPIO_Init(GPIOB, &GPIO_InitStruct);

  /* EXTI interrupt init*/
  HAL_NVIC_SetPriority(EXTI9_5_IRQn, 0, 0);
  HAL_NVIC_EnableIRQ(EXTI9_5_IRQn);

  HAL_NVIC_SetPriority(EXTI15_10_IRQn, 0, 0);
  HAL_NVIC_EnableIRQ(EXTI15_10_IRQn);

}

void _Error_Handler(char *file, int line)
{
  while(1)
  {
  }
}

/************************ (C) COPYRIGHT STMicroelectronics *****END OF FILE****/
